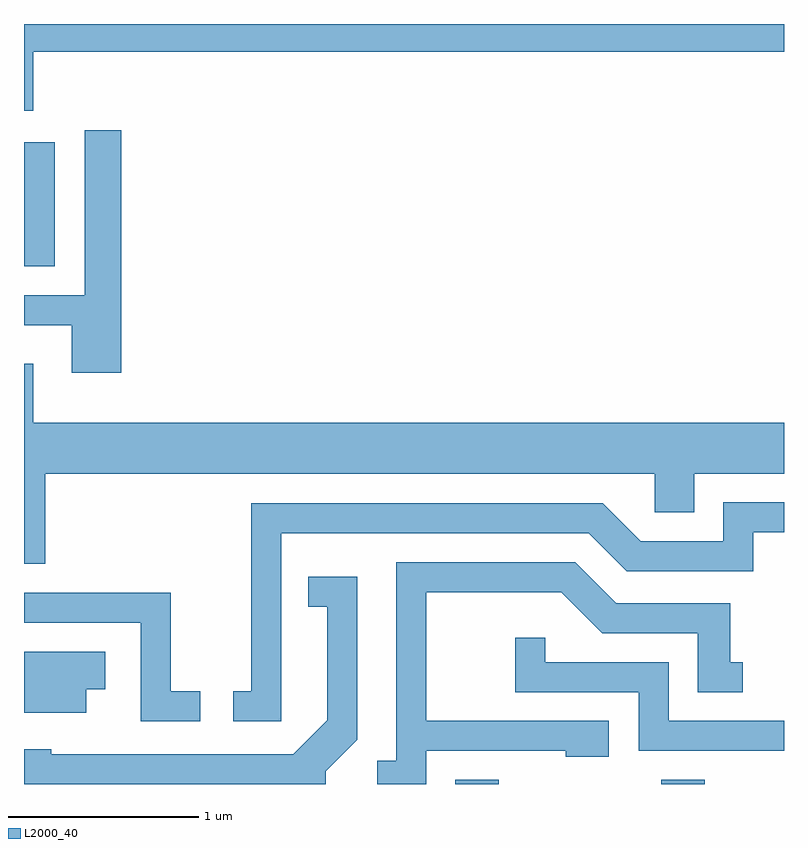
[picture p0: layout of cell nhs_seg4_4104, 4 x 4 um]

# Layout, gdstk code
import gdstk
lib = gdstk.Library(unit=1e-6, precision=1e-09)
def R(c, l, rs):  # rectangles x0, y0, x1, y1
    for r in rs: c.add(gdstk.rectangle(r[:2], r[2:], *l))
def P(c, l, *ps):  # polygons
    for p in ps: c.add(gdstk.Polygon(p, *l))
L2000_40 = (2000, 40)

nhs_seg4_4104 = lib.new_cell('nhs_seg4_4104')
R(nhs_seg4_4104, L2000_40, [(307.881,1301.982,308.109,1302.004), (308.966,1301.982,309.194,1302.004), (305.611,1304.706,305.774,1305.359)])
P(nhs_seg4_4104, L2000_40, [(305.659,1305.836),(309.611,1305.836),(309.611,1305.982),(305.611,1305.982),(305.611,1305.526),(305.659,1305.526)],
  [(306.124,1305.424),(305.931,1305.424),(305.931,1304.554),(305.611,1304.554),(305.611,1304.396),(305.861,1304.396),(305.861,1304.146),(306.124,1304.146)],
  [(305.724,1303.616),(308.931,1303.616),(308.931,1303.411),(309.139,1303.411),(309.139,1303.616),(309.611,1303.616),(309.611,1303.884),(305.659,1303.884),(305.659,1304.194),(305.611,1304.194),(305.611,1303.141),(305.724,1303.141)],
  [(306.964,1303.301),(308.584,1303.301),(308.784,1303.101),(309.449,1303.101),(309.449,1303.306),(309.611,1303.306),(309.611,1303.464),(309.291,1303.464),(309.291,1303.259),(308.857,1303.259),(308.657,1303.459),(306.806,1303.459),(306.806,1302.469),(306.713,1302.469),(306.713,1302.311),(306.964,1302.311)],
  [(307.729,1302.156),(308.461,1302.156),(308.461,1302.126),(308.689,1302.126),(308.689,1302.314),(307.729,1302.314),(307.729,1302.991),(308.439,1302.991),(308.654,1302.776),(309.156,1302.776),(309.156,1302.466),(309.393,1302.466),(309.393,1302.624),(309.329,1302.624),(309.329,1302.934),(308.727,1302.934),(308.512,1303.149),(307.571,1303.149),(307.571,1302.104),(307.471,1302.104),(307.471,1301.982),(307.729,1301.982)],
  [(307.199,1302.049),(307.364,1302.214),(307.364,1303.074),(307.108,1303.074),(307.108,1302.916),(307.206,1302.916),(307.206,1302.317),(307.029,1302.139),(305.754,1302.139),(305.754,1302.164),(305.611,1302.164),(305.611,1301.982),(307.199,1301.982)],
  [(306.538,1302.469),(306.384,1302.469),(306.384,1302.989),(305.611,1302.989),(305.611,1302.831),(306.226,1302.831),(306.226,1302.311),(306.538,1302.311)],
  [(309.611,1302.314),(309.004,1302.314),(309.004,1302.624),(308.354,1302.624),(308.354,1302.753),(308.196,1302.753),(308.196,1302.466),(308.846,1302.466),(308.846,1302.156),(309.611,1302.156)],
  [(305.939,1302.481),(306.039,1302.481),(306.039,1302.679),(305.611,1302.679),(305.611,1302.356),(305.939,1302.356)])

lib.write_gds('nhs_seg4_4104.gds')
